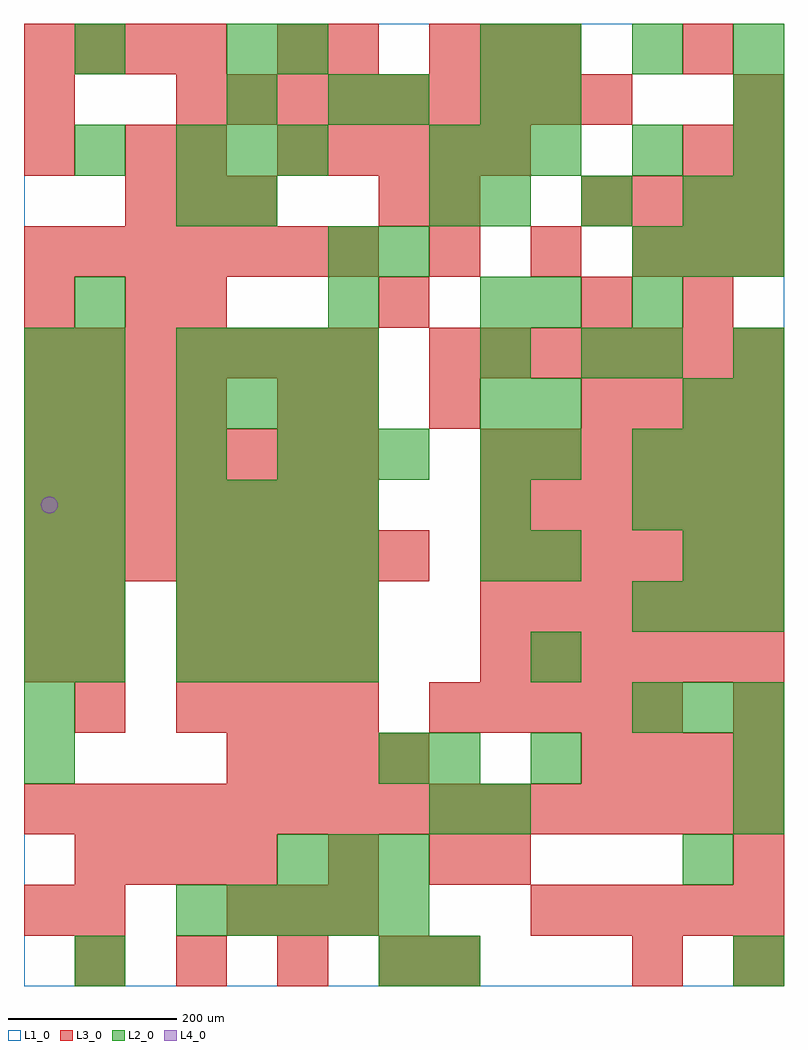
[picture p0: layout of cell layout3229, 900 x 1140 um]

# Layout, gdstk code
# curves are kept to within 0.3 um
import gdstk
lib = gdstk.Library(unit=1e-6, precision=1e-09)
def R(c, l, rs):  # rectangles x0, y0, x1, y1
    for r in rs: c.add(gdstk.rectangle(r[:2], r[2:], *l))
def A(c, l, x, y, w, h, nx, ny, dx, dy):  # array of equal rectangles
    R(c, l, [(x+i*dx, y+j*dy, x+i*dx+w, y+j*dy+h) for i in range(nx) for j in range(ny)])
def P(c, l, *ps):  # polygons
    for p in ps: c.add(gdstk.Polygon(p, *l))
L1_0 = (1, 0)
L2_0 = (2, 0)
L3_0 = (3, 0)
L4_0 = (4, 0)

layout3229 = lib.new_cell('layout3229')
R(layout3229, L1_0, [(0,0,900,1140)])
A(layout3229, L2_0, 180, 60, 60, 60, 5, 1, 60, 0)
A(layout3229, L2_0, 300, 120, 60, 60, 3, 1, 60, 0)
A(layout3229, L2_0, 0, 240, 60, 60, 1, 9, 0, 60)
A(layout3229, L2_0, 600, 240, 60, 60, 1, 4, 0, 120)
A(layout3229, L2_0, 720, 300, 60, 60, 3, 3, 60, 120)
A(layout3229, L2_0, 60, 360, 60, 60, 1, 4, 0, 60)
A(layout3229, L2_0, 180, 360, 60, 60, 4, 4, 60, 60)
A(layout3229, L2_0, 540, 480, 60, 60, 1, 6, 0, 60)
A(layout3229, L2_0, 60, 600, 60, 60, 3, 1, 120, 0)
A(layout3229, L2_0, 720, 600, 60, 60, 3, 2, 60, 240)
A(layout3229, L2_0, 60, 660, 60, 60, 1, 3, 0, 60)
A(layout3229, L2_0, 180, 660, 60, 60, 4, 2, 60, 60)
A(layout3229, L2_0, 540, 900, 60, 60, 3, 1, 120, 0)
A(layout3229, L2_0, 840, 900, 60, 60, 1, 3, 0, 60)
A(layout3229, L2_0, 180, 960, 60, 60, 3, 1, 60, 0)
A(layout3229, L2_0, 480, 960, 60, 60, 3, 1, 60, 0)
A(layout3229, L2_0, 600, 1080, 60, 60, 3, 1, 120, 0)
R(layout3229, L2_0, [(60,0,120,60), (420,0,480,60), (480,0,540,60), (840,0,900,60), (780,120,840,180), (480,180,540,240), (540,180,600,240), (840,180,900,240), (420,240,480,300), (480,240,540,300), (840,240,900,300), (780,480,840,540), (840,480,900,540), (360,600,420,660), (420,600,480,660), (600,660,660,720), (780,660,840,720), (840,660,900,720), (660,720,720,780), (720,720,780,780), (840,720,900,780), (360,780,420,840), (600,780,660,840), (720,780,780,840), (360,840,420,900), (420,840,480,900), (180,900,240,960), (240,900,300,960), (480,900,540,960), (60,960,120,1020), (720,960,780,1020), (240,1020,300,1080), (360,1020,420,1080), (420,1020,480,1080), (540,1020,600,1080), (600,1020,660,1080), (60,1080,120,1140), (240,1080,300,1140), (300,1080,360,1140), (540,1080,600,1140)])
A(layout3229, L3_0, 60, 0, 60, 60, 4, 1, 120, 0)
A(layout3229, L3_0, 240, 60, 60, 60, 3, 1, 60, 0)
A(layout3229, L3_0, 600, 60, 60, 60, 5, 1, 60, 0)
A(layout3229, L3_0, 60, 120, 60, 60, 4, 1, 60, 0)
A(layout3229, L3_0, 0, 180, 60, 60, 15, 1, 60, 0)
A(layout3229, L3_0, 240, 240, 60, 60, 4, 1, 60, 0)
A(layout3229, L3_0, 660, 240, 60, 60, 4, 2, 60, 420)
A(layout3229, L3_0, 60, 300, 60, 60, 1, 3, 0, 60)
A(layout3229, L3_0, 180, 300, 60, 60, 4, 3, 60, 60)
A(layout3229, L3_0, 480, 300, 60, 60, 5, 1, 60, 0)
A(layout3229, L3_0, 540, 360, 60, 60, 6, 5, 60, 60)
A(layout3229, L3_0, 0, 480, 60, 60, 8, 1, 60, 0)
A(layout3229, L3_0, 0, 540, 60, 60, 7, 2, 60, 60)
A(layout3229, L3_0, 0, 660, 60, 60, 4, 2, 60, 420)
A(layout3229, L3_0, 0, 720, 60, 60, 7, 2, 60, 120)
A(layout3229, L3_0, 480, 720, 60, 60, 7, 1, 60, 0)
A(layout3229, L3_0, 180, 780, 60, 60, 3, 1, 240, 0)
A(layout3229, L3_0, 480, 840, 60, 60, 3, 1, 120, 0)
A(layout3229, L3_0, 780, 840, 60, 60, 1, 3, 0, 120)
A(layout3229, L3_0, 120, 900, 60, 60, 3, 1, 60, 0)
A(layout3229, L3_0, 660, 900, 60, 60, 4, 1, 60, 0)
A(layout3229, L3_0, 300, 960, 60, 60, 5, 1, 60, 0)
A(layout3229, L3_0, 180, 1020, 60, 60, 9, 1, 60, 0)
A(layout3229, L3_0, 480, 1080, 60, 60, 3, 1, 60, 0)
R(layout3229, L3_0, [(480,0,540,60), (720,0,780,60), (840,0,900,60), (0,60,60,120), (60,60,120,120), (360,120,420,180), (480,120,540,180), (540,120,600,180), (840,120,900,180), (840,300,900,360), (0,360,60,420), (0,420,60,480), (300,660,360,720), (360,660,420,720), (480,660,540,720), (0,780,60,840), (120,780,180,840), (780,780,840,840), (840,840,900,900), (420,900,480,960), (480,900,540,960), (0,960,60,1020), (120,960,180,1020), (180,960,240,1020), (840,960,900,1020), (0,1020,60,1080), (840,1020,900,1080), (300,1080,360,1140), (360,1080,420,1140)])
P(layout3229, L4_0, [(40,570),(39.239,573.827),(37.071,577.071),(33.827,579.239),(30,580),(26.173,579.239),(22.929,577.071),(20.761,573.827),(20,570),(20.761,566.173),(22.929,562.929),(26.173,560.761),(30,560),(33.827,560.761),(37.071,562.929),(39.239,566.173)])

lib.write_gds('layout3229.gds')
